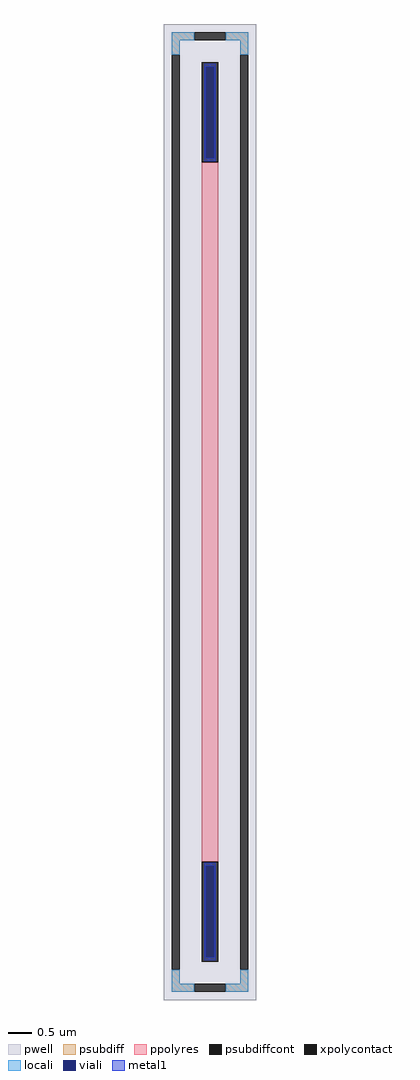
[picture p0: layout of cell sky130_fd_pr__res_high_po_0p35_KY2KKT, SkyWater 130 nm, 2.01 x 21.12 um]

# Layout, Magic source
magic
tech sky130A
magscale 1 2
<< pwell >>
rect -201 -2112 201 2112
<< psubdiff >>
rect -165 2042 -69 2076
rect 69 2042 165 2076
rect -165 1980 -131 2042
rect 131 1980 165 2042
rect -165 -2042 -131 -1980
rect 131 -2042 165 -1980
rect -165 -2076 -69 -2042
rect 69 -2076 165 -2042
<< psubdiffcont >>
rect -69 2042 69 2076
rect -165 -1980 -131 1980
rect 131 -1980 165 1980
rect -69 -2076 69 -2042
<< xpolycontact >>
rect -35 1514 35 1946
rect -35 -1946 35 -1514
<< ppolyres >>
rect -35 -1514 35 1514
<< locali >>
rect -165 2042 -69 2076
rect 69 2042 165 2076
rect -165 1980 -131 2042
rect 131 1980 165 2042
rect -165 -2042 -131 -1980
rect 131 -2042 165 -1980
rect -165 -2076 -69 -2042
rect 69 -2076 165 -2042
<< viali >>
rect -19 1531 19 1928
rect -19 -1928 19 -1531
<< metal1 >>
rect -25 1928 25 1940
rect -25 1531 -19 1928
rect 19 1531 25 1928
rect -25 1519 25 1531
rect -25 -1531 25 -1519
rect -25 -1928 -19 -1531
rect 19 -1928 25 -1531
rect -25 -1940 25 -1928
<< properties >>
string FIXED_BBOX -148 -2059 148 2059
string gencell sky130_fd_pr__res_high_po_0p35
string library sky130
string parameters w 0.350 l 15.3 m 1 nx 1 wmin 0.350 lmin 0.50 rho 319.8 val 15.093k dummy 0 dw 0.0 term 194.82 sterm 0.0 caplen 0 guard 1 glc 1 grc 1 gtc 1 gbc 1 compatible {sky130_fd_pr__res_high_po_0p35  sky130_fd_pr__res_high_po_0p69 sky130_fd_pr__res_high_po_1p41  sky130_fd_pr__res_high_po_2p85 sky130_fd_pr__res_high_po_5p73} snake 0 full_metal 1 wmax 0.350 vias 1 n_guard 0 hv_guard 0 viagb 0 viagt 0 viagl 0 viagr 0
<< end >>
